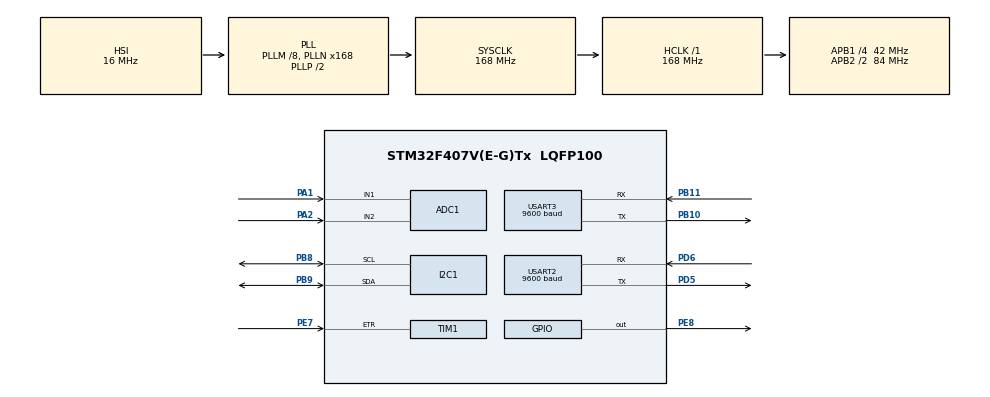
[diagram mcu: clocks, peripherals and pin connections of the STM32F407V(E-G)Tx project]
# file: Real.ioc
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ADC1.Channel-0\#ChannelRegularConversion=ADC_CHANNEL_1
ADC1.Channel-1\#ChannelRegularConversion=ADC_CHANNEL_2
ADC1.ContinuousConvMode=ENABLE
ADC1.NbrOfConversion=2
ADC1.NbrOfConversionFlag=1
ADC1.Rank-0\#ChannelRegularConversion=1
ADC1.Rank-1\#ChannelRegularConversion=2
ADC1.SamplingTime-0\#ChannelRegularConversion=ADC_SAMPLETIME_112CYCLES
ADC1.SamplingTime-1\#ChannelRegularConversion=ADC_SAMPLETIME_480CYCLES
ADC1.master=1
Dma.ADC1.0.Direction=DMA_PERIPH_TO_MEMORY
Dma.ADC1.0.FIFOMode=DMA_FIFOMODE_DISABLE
Dma.ADC1.0.Instance=DMA2_Stream0
Dma.ADC1.0.MemDataAlignment=DMA_MDATAALIGN_HALFWORD
Dma.ADC1.0.MemInc=DMA_MINC_ENABLE
Dma.ADC1.0.Mode=DMA_CIRCULAR
Dma.ADC1.0.PeriphDataAlignment=DMA_PDATAALIGN_HALFWORD
Dma.ADC1.0.PeriphInc=DMA_PINC_DISABLE
Dma.ADC1.0.Priority=DMA_PRIORITY_LOW
Dma.Request0=ADC1
Mcu.Family=STM32F4
Mcu.Name=STM32F407V(E-G)Tx
Mcu.Package=LQFP100
NVIC.DMA2_Stream0_IRQn=true\:0\:0\:false\:false\:true\:false\:true\:true
NVIC.PriorityGroup=NVIC_PRIORITYGROUP_4
NVIC.TIM1_UP_TIM10_IRQn=true\:1\:0\:true\:true\:true\:1\:true\:true\:true
NVIC.TIM2_IRQn=true\:2\:0\:true\:true\:true\:2\:true\:true\:true
PA1.Signal=ADCx_IN1
PA13.Mode=Serial_Wire
PA13.Signal=SYS_JTMS-SWDIO
PA14.Mode=Serial_Wire
PA14.Signal=SYS_JTCK-SWCLK
PA2.Signal=ADCx_IN2
PB10.Mode=Asynchronous
PB10.Signal=USART3_TX
PB11.Mode=Asynchronous
PB11.Signal=USART3_RX
PB8.GPIO_Mode=GPIO_MODE_AF_OD
PB8.Mode=I2C
PB8.Signal=I2C1_SCL
PB9.GPIO_Pu=GPIO_NOPULL
PB9.Mode=I2C
PB9.Signal=I2C1_SDA
PD5.Mode=Asynchronous
PD5.Signal=USART2_TX
PD6.Mode=Asynchronous
PD6.Signal=USART2_RX
PE7.Signal=S_TIM1_ETR
PE8.Signal=GPIO_Output
PH0-OSC_IN.Mode=HSE-External-Oscillator
PH0-OSC_IN.Signal=RCC_OSC_IN
PH1-OSC_OUT.Mode=HSE-External-Oscillator
PH1-OSC_OUT.Signal=RCC_OSC_OUT
ProjectManager.HeapSize=0x200
ProjectManager.StackSize=0x400
ProjectManager.TargetToolchain=STM32CubeIDE
RCC.48MHZClocksFreq_Value=84000000
RCC.AHBFreq_Value=168000000
RCC.APB1CLKDivider=RCC_HCLK_DIV4
RCC.APB1Freq_Value=42000000
RCC.APB1TimFreq_Value=84000000
RCC.APB2CLKDivider=RCC_HCLK_DIV2
RCC.APB2Freq_Value=84000000
RCC.APB2TimFreq_Value=168000000
RCC.CortexFreq_Value=168000000
RCC.HCLKFreq_Value=168000000
RCC.HSE_VALUE=8000000
RCC.HSI_VALUE=16000000
RCC.LSE_VALUE=32768
RCC.PLLM=8
RCC.PLLN=168
RCC.SYSCLKFreq_VALUE=168000000
RCC.SYSCLKSource=RCC_SYSCLKSOURCE_PLLCLK
RCC.VCOOutputFreq_Value=336000000
SH.ADCx_IN1.0=ADC1_IN1,IN1
SH.ADCx_IN2.0=ADC1_IN2,IN2
SH.S_TIM1_ETR.0=TIM1_ETR,ClockSourceETR_Mode2
TIM1.Period=857
TIM1.Prescaler=0
TIM2.Period=30000
TIM2.Prescaler=42000
USART2.BaudRate=9600
USART2.VirtualMode=VM_ASYNC
USART3.BaudRate=9600
USART3.VirtualMode=VM_ASYNC
VP_TIM2_VS_ClockSourceINT.Mode=Internal
board=custom

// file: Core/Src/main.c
/* USER CODE BEGIN Header */
/**
  ******************************************************************************
  * @file           : main.c
  * @brief          : Main program body
  ******************************************************************************
  * @attention
  *
  * Copyright (c) 2023 STMicroelectronics.
  * All rights reserved.
  *
  * This software is licensed under terms that can be found in the LICENSE file
  * in the root directory of this software component.
  * If no LICENSE file comes with this software, it is provided AS-IS.
  *
  ******************************************************************************
  */
/* USER CODE END Header */
#include "main.h"

/* USER CODE BEGIN Includes */
#include "stdio.h"
#include "string.h"
#include "stm32f4xx_hal.h"
#include "CLCD_I2C.h"
#include "math.h"
#include "FLASH.h"
/* USER CODE END Includes */

/* USER CODE BEGIN PM */
		uint16_t readValue[2];
		uint8_t rawVoltage;
		float rawCurrent, realCurrent;
		volatile float Wh;
		//float count1 = 0;
		char msgV[15], msgI[15];
		char msd[15];
		uint8_t text[4];
		uint8_t hexe[4];
		uint8_t bien1[4];
		uint8_t bien2[4];

/* USER CODE END PM */

ADC_HandleTypeDef hadc1;
DMA_HandleTypeDef hdma_adc1;

I2C_HandleTypeDef hi2c1;

TIM_HandleTypeDef htim1;
TIM_HandleTypeDef htim2;

UART_HandleTypeDef huart2;
UART_HandleTypeDef huart3;

/* USER CODE BEGIN PV */
CLCD_I2C_Name LCD1;
/* USER CODE END PV */

void SystemClock_Config(void);
static void MX_GPIO_Init(void);
static void MX_DMA_Init(void);
static void MX_ADC1_Init(void);
static void MX_I2C1_Init(void);
static void MX_TIM1_Init(void);
static void MX_TIM2_Init(void);
static void MX_USART2_UART_Init(void);
static void MX_USART3_UART_Init(void);
static void MX_NVIC_Init(void);

int main(void)
{

  /* MCU Configuration--------------------------------------------------------*/

  /* Reset of all peripherals, Initializes the Flash interface and the Systick. */
  HAL_Init();

  /* Configure the system clock */
  SystemClock_Config();

  /* Initialize all configured peripherals */
  MX_GPIO_Init();
  MX_DMA_Init();
  MX_ADC1_Init();
  MX_I2C1_Init();
  MX_TIM1_Init();
  MX_TIM2_Init();
  MX_USART2_UART_Init();
  MX_USART3_UART_Init();

  /* Initialize interrupts */
  MX_NVIC_Init();
  /* USER CODE BEGIN 2 */
  MY_FLASH_SetSectorAddrs(11, 0x080E0000);
 // memcpy(hexe, &count1, sizeof(float));
 // MY_FLASH_WriteN(0, hexe, 4, DATA_TYPE_8);
  MY_FLASH_ReadN(0, text, 4, DATA_TYPE_8);
  memcpy(&Wh, text, sizeof(float));

  HAL_TIM_Base_Start_IT(&htim1);

  HAL_TIM_Base_Start_IT(&htim2);

  CLCD_I2C_Init(&LCD1, &hi2c1, 0x4E, 20, 4);

  /* USER CODE END 2 */

  /* Infinite loop */
  while (1)
  {

    /* USER CODE BEGIN 3 */

	  	  	  HAL_ADC_Start_DMA(&hadc1,(uint32_t*)readValue,2);
	  	  	  HAL_Delay(800);
	  	  	  HAL_ADC_Stop_DMA(&hadc1);
	  	  	  HAL_Delay(800);
	  	  	  rawVoltage =( (float)readValue[0]*3.3/4095)*100;
	  	  	  sprintf(msgV,"Voltage:%d V",rawVoltage);
	  	  	  rawCurrent =((float)readValue[1]*3.3/4095)*4;
	  	  	  sprintf(msd,"Energy:%.2f Wh",Wh);
	  	  	  CLCD_I2C_SetCursor(&LCD1, 1,3);
	  	  	  CLCD_I2C_WriteString(&LCD1,msd);
	  	  	  sprintf(msgI,"Current:%.2f A",rawCurrent);
	  	  	  CLCD_I2C_SetCursor(&LCD1, 1,0);
	  	  	  CLCD_I2C_WriteString(&LCD1,msgV);
	  	  	  CLCD_I2C_SetCursor(&LCD1, 1,1);
	  	  	  CLCD_I2C_WriteString(&LCD1,msgI);

  }
  /* USER CODE END 3 */
}
void HAL_TIM_PeriodElapsedCallback(TIM_HandleTypeDef *htim)
{
  /* Prevent unused argument(s) compilation warning */
	if (htim->Instance==TIM1)
				   {
				  Wh = Wh + 0.25;

				 HAL_GPIO_TogglePin(GPIOE, GPIO_PIN_8);

				     // Xử lý ngắt từ timer 1 đếm số Wh và đổi trạng thái đèn
				   }

	if (htim->Instance==TIM2)
					{
							memcpy(bien1, &Wh, sizeof(float));
			 				memcpy(bien2, &rawCurrent, sizeof(float));
			 				HAL_UART_Transmit(&huart2, bien1, sizeof(bien1),100);
			 				HAL_UART_Transmit(&huart3, bien2, sizeof(bien2),100);
			 				memcpy(hexe, &Wh, sizeof(float));
			 				MY_FLASH_WriteN(0, hexe, 4, DATA_TYPE_8);
					}

  /* NOTE : This function should not be modified, when the callback is needed,
            the HAL_TIM_PeriodElapsedHalfCpltCallback could be implemented in the user file
   */
}
void SystemClock_Config(void)
{
  RCC_OscInitTypeDef RCC_OscInitStruct = {0};
  RCC_ClkInitTypeDef RCC_ClkInitStruct = {0};

  /** Configure the main internal regulator output voltage
  */
  __HAL_RCC_PWR_CLK_ENABLE();
  __HAL_PWR_VOLTAGESCALING_CONFIG(PWR_REGULATOR_VOLTAGE_SCALE1);

  /** Initializes the RCC Oscillators according to the specified parameters
  * in the RCC_OscInitTypeDef structure.
  */
  RCC_OscInitStruct.OscillatorType = RCC_OSCILLATORTYPE_HSI;
  RCC_OscInitStruct.HSIState = RCC_HSI_ON;
  RCC_OscInitStruct.HSICalibrationValue = RCC_HSICALIBRATION_DEFAULT;
  RCC_OscInitStruct.PLL.PLLState = RCC_PLL_ON;
  RCC_OscInitStruct.PLL.PLLSource = RCC_PLLSOURCE_HSI;
  RCC_OscInitStruct.PLL.PLLM = 8;
  RCC_OscInitStruct.PLL.PLLN = 168;
  RCC_OscInitStruct.PLL.PLLP = RCC_PLLP_DIV2;
  RCC_OscInitStruct.PLL.PLLQ = 4;
  if (HAL_RCC_OscConfig(&RCC_OscInitStruct) != HAL_OK)
  {
    Error_Handler();
  }

  /** Initializes the CPU, AHB and APB buses clocks
  */
  RCC_ClkInitStruct.ClockType = RCC_CLOCKTYPE_HCLK|RCC_CLOCKTYPE_SYSCLK
                              |RCC_CLOCKTYPE_PCLK1|RCC_CLOCKTYPE_PCLK2;
  RCC_ClkInitStruct.SYSCLKSource = RCC_SYSCLKSOURCE_PLLCLK;
  RCC_ClkInitStruct.AHBCLKDivider = RCC_SYSCLK_DIV1;
  RCC_ClkInitStruct.APB1CLKDivider = RCC_HCLK_DIV4;
  RCC_ClkInitStruct.APB2CLKDivider = RCC_HCLK_DIV2;

  if (HAL_RCC_ClockConfig(&RCC_ClkInitStruct, FLASH_LATENCY_5) != HAL_OK)
  {
    Error_Handler();
  }
}

/**
  * @brief NVIC Configuration.
  * @retval None
  */
static void MX_NVIC_Init(void)
{
  /* TIM1_UP_TIM10_IRQn interrupt configuration */
  HAL_NVIC_SetPriority(TIM1_UP_TIM10_IRQn, 1, 0);
  HAL_NVIC_EnableIRQ(TIM1_UP_TIM10_IRQn);
  /* TIM2_IRQn interrupt configuration */
  HAL_NVIC_SetPriority(TIM2_IRQn, 2, 0);
  HAL_NVIC_EnableIRQ(TIM2_IRQn);
}

static void MX_ADC1_Init(void)
{

  ADC_ChannelConfTypeDef sConfig = {0};

  /** Configure the global features of the ADC (Clock, Resolution, Data Alignment and number of conversion)
  */
  hadc1.Instance = ADC1;
  hadc1.Init.ClockPrescaler = ADC_CLOCK_SYNC_PCLK_DIV4;
  hadc1.Init.Resolution = ADC_RESOLUTION_12B;
  hadc1.Init.ScanConvMode = ENABLE;
  hadc1.Init.ContinuousConvMode = ENABLE;
  hadc1.Init.DiscontinuousConvMode = DISABLE;
  hadc1.Init.ExternalTrigConvEdge = ADC_EXTERNALTRIGCONVEDGE_NONE;
  hadc1.Init.ExternalTrigConv = ADC_SOFTWARE_START;
  hadc1.Init.DataAlign = ADC_DATAALIGN_RIGHT;
  hadc1.Init.NbrOfConversion = 2;
  hadc1.Init.DMAContinuousRequests = DISABLE;
  hadc1.Init.EOCSelection = ADC_EOC_SINGLE_CONV;
  if (HAL_ADC_Init(&hadc1) != HAL_OK)
  {
    Error_Handler();
  }

  /** Configure for the selected ADC regular channel its corresponding rank in the sequencer and its sample time.
  */
  sConfig.Channel = ADC_CHANNEL_1;
  sConfig.Rank = 1;
  sConfig.SamplingTime = ADC_SAMPLETIME_112CYCLES;
  if (HAL_ADC_ConfigChannel(&hadc1, &sConfig) != HAL_OK)
  {
    Error_Handler();
  }

  /** Configure for the selected ADC regular channel its corresponding rank in the sequencer and its sample time.
  */
  sConfig.Channel = ADC_CHANNEL_2;
  sConfig.Rank = 2;
  sConfig.SamplingTime = ADC_SAMPLETIME_480CYCLES;
  if (HAL_ADC_ConfigChannel(&hadc1, &sConfig) != HAL_OK)
  {
    Error_Handler();
  }

}

static void MX_I2C1_Init(void)
{

  hi2c1.Instance = I2C1;
  hi2c1.Init.ClockSpeed = 100000;
  hi2c1.Init.DutyCycle = I2C_DUTYCYCLE_2;
  hi2c1.Init.OwnAddress1 = 0;
  hi2c1.Init.AddressingMode = I2C_ADDRESSINGMODE_7BIT;
  hi2c1.Init.DualAddressMode = I2C_DUALADDRESS_DISABLE;
  hi2c1.Init.OwnAddress2 = 0;
  hi2c1.Init.GeneralCallMode = I2C_GENERALCALL_DISABLE;
  hi2c1.Init.NoStretchMode = I2C_NOSTRETCH_DISABLE;
  if (HAL_I2C_Init(&hi2c1) != HAL_OK)
  {
    Error_Handler();
  }

}

static void MX_TIM1_Init(void)
{

  TIM_ClockConfigTypeDef sClockSourceConfig = {0};
  TIM_MasterConfigTypeDef sMasterConfig = {0};

  htim1.Instance = TIM1;
  htim1.Init.Prescaler = 0;
  htim1.Init.CounterMode = TIM_COUNTERMODE_UP;
  htim1.Init.Period = 857;
  htim1.Init.ClockDivision = TIM_CLOCKDIVISION_DIV1;
  htim1.Init.RepetitionCounter = 0;
  htim1.Init.AutoReloadPreload = TIM_AUTORELOAD_PRELOAD_DISABLE;
  if (HAL_TIM_Base_Init(&htim1) != HAL_OK)
  {
    Error_Handler();
  }
  sClockSourceConfig.ClockSource = TIM_CLOCKSOURCE_ETRMODE2;
  sClockSourceConfig.ClockPolarity = TIM_CLOCKPOLARITY_NONINVERTED;
  sClockSourceConfig.ClockPrescaler = TIM_CLOCKPRESCALER_DIV1;
  sClockSourceConfig.ClockFilter = 0;
  if (HAL_TIM_ConfigClockSource(&htim1, &sClockSourceConfig) != HAL_OK)
  {
    Error_Handler();
  }
  sMasterConfig.MasterOutputTrigger = TIM_TRGO_RESET;
  sMasterConfig.MasterSlaveMode = TIM_MASTERSLAVEMODE_DISABLE;
  if (HAL_TIMEx_MasterConfigSynchronization(&htim1, &sMasterConfig) != HAL_OK)
  {
    Error_Handler();
  }

}

static void MX_TIM2_Init(void)
{

  TIM_ClockConfigTypeDef sClockSourceConfig = {0};
  TIM_MasterConfigTypeDef sMasterConfig = {0};

  htim2.Instance = TIM2;
  htim2.Init.Prescaler = 42000;
  htim2.Init.CounterMode = TIM_COUNTERMODE_UP;
  htim2.Init.Period = 30000;
  htim2.Init.ClockDivision = TIM_CLOCKDIVISION_DIV1;
  htim2.Init.AutoReloadPreload = TIM_AUTORELOAD_PRELOAD_DISABLE;
  if (HAL_TIM_Base_Init(&htim2) != HAL_OK)
  {
    Error_Handler();
  }
  sClockSourceConfig.ClockSource = TIM_CLOCKSOURCE_INTERNAL;
  if (HAL_TIM_ConfigClockSource(&htim2, &sClockSourceConfig) != HAL_OK)
  {
    Error_Handler();
  }
  sMasterConfig.MasterOutputTrigger = TIM_TRGO_RESET;
  sMasterConfig.MasterSlaveMode = TIM_MASTERSLAVEMODE_DISABLE;
  if (HAL_TIMEx_MasterConfigSynchronization(&htim2, &sMasterConfig) != HAL_OK)
  {
    Error_Handler();
  }

}

static void MX_USART2_UART_Init(void)
{

  huart2.Instance = USART2;
  huart2.Init.BaudRate = 9600;
  huart2.Init.WordLength = UART_WORDLENGTH_8B;
  huart2.Init.StopBits = UART_STOPBITS_1;
  huart2.Init.Parity = UART_PARITY_NONE;
  huart2.Init.Mode = UART_MODE_TX_RX;
  huart2.Init.HwFlowCtl = UART_HWCONTROL_NONE;
  huart2.Init.OverSampling = UART_OVERSAMPLING_16;
  if (HAL_UART_Init(&huart2) != HAL_OK)
  {
    Error_Handler();
  }

}

static void MX_USART3_UART_Init(void)
{

  huart3.Instance = USART3;
  huart3.Init.BaudRate = 9600;
  huart3.Init.WordLength = UART_WORDLENGTH_8B;
  huart3.Init.StopBits = UART_STOPBITS_1;
  huart3.Init.Parity = UART_PARITY_NONE;
  huart3.Init.Mode = UART_MODE_TX_RX;
  huart3.Init.HwFlowCtl = UART_HWCONTROL_NONE;
  huart3.Init.OverSampling = UART_OVERSAMPLING_16;
  if (HAL_UART_Init(&huart3) != HAL_OK)
  {
    Error_Handler();
  }

}

static void MX_DMA_Init(void)
{

  /* DMA controller clock enable */
  __HAL_RCC_DMA2_CLK_ENABLE();

  /* DMA interrupt init */
  /* DMA2_Stream0_IRQn interrupt configuration */
  HAL_NVIC_SetPriority(DMA2_Stream0_IRQn, 0, 0);
  HAL_NVIC_EnableIRQ(DMA2_Stream0_IRQn);

}

static void MX_GPIO_Init(void)
{
  GPIO_InitTypeDef GPIO_InitStruct = {0};

  /* GPIO Ports Clock Enable */
  __HAL_RCC_GPIOH_CLK_ENABLE();
  __HAL_RCC_GPIOA_CLK_ENABLE();
  __HAL_RCC_GPIOE_CLK_ENABLE();
  __HAL_RCC_GPIOB_CLK_ENABLE();
  __HAL_RCC_GPIOD_CLK_ENABLE();

  /*Configure GPIO pin Output Level */
  HAL_GPIO_WritePin(GPIOE, GPIO_PIN_8, GPIO_PIN_RESET);

  /*Configure GPIO pin : PE8 */
  GPIO_InitStruct.Pin = GPIO_PIN_8;
  GPIO_InitStruct.Mode = GPIO_MODE_OUTPUT_PP;
  GPIO_InitStruct.Pull = GPIO_NOPULL;
  GPIO_InitStruct.Speed = GPIO_SPEED_FREQ_LOW;
  HAL_GPIO_Init(GPIOE, &GPIO_InitStruct);

}

void Error_Handler(void)
{
  __disable_irq();
  while (1)
  {
  }
}
